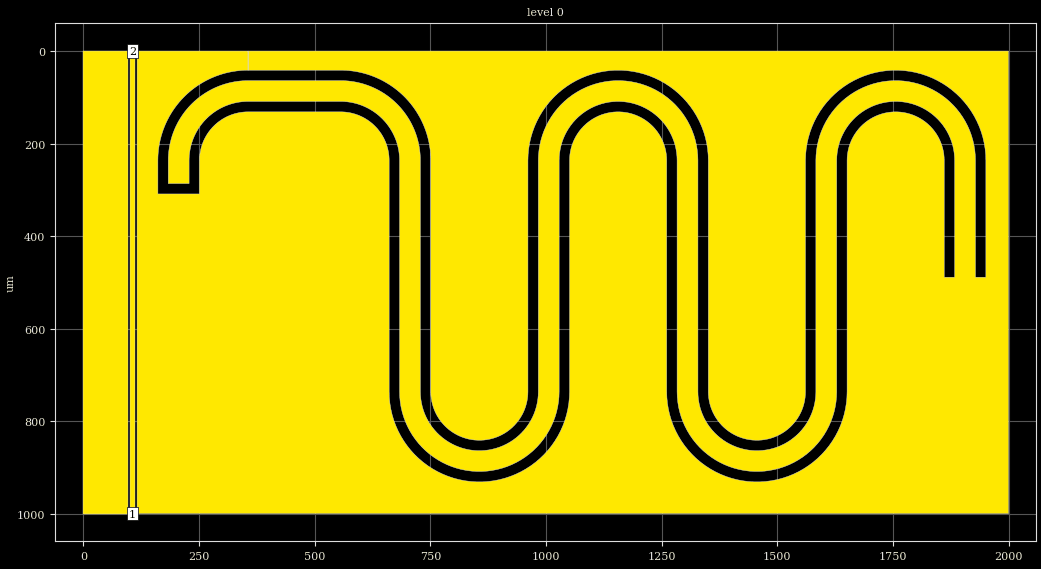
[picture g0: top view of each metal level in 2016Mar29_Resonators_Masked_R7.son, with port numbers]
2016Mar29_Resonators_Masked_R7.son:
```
FTYP SONPROJ 15 ! Sonnet Project File
VER 16.52
HEADER
LIC calt2.2.43068 b4ae2bd1247e DESKTOP-SL82IK9 Michael
DAT 04/05/2016 01:55:19
BUILT_BY_CREATED xgeom 16.52 03/26/2016 21:21:12
BUILT_BY_SAVED xgeom 16.52
MDATE 04/05/2016 01:55:19
HDATE 04/05/2016 01:55:19
END HEADER
DIM
FREQ GHZ
IND NH
LNG UM
ANG DEG
CON /OH
CAP PF
RES OH
END DIM
FREQ
ABS 5.9 6.2 
END FREQ
CONTROL
ABS
OPTIONS  -d 
SPEED 0
CACHE_ABS 1
TARG_ABS 300
Q_ACC N
DET_ABS_RES Y
END CONTROL
GEO
TMET "Lossless" 0 SUP 0 0 0 0
BMET "Lossless" 0 SUP 0 0 0 0
BOX 1 2000 1000 800 400 20 0
      1000 1 1 0 0 0 0 "Air"
      500 11.9 1 5e-006 0 0 0 "Silicon (intrinsic)"
LORGN 0 1000 U 
POR1 STD
POLY 123 1
4
1 50 0 0 0 106 1000 
POR1 STD
POLY 123 1
1
2 50 0 0 0 106 0 
NUM 3
0 6 -1 N 117 1 1 100 100 0 0 0 Y
96 109
96 0
-1 0
-1 1000
96 1000
96 109
END
0 1220 -1 N 121 1 1 100 100 0 0 0 Y
1999.999926 4.577209798e-006
356 4.577209798e-006
356 41.5
556 41.5
562.25 41.6
568.49 41.9
574.72 42.4
580.94 43.1
587.12 44
593.28 45.1
599.39 46.39
605.46 47.88
611.48 49.56
617.45 51.43
623.35 53.5
629.18 55.75
634.93 58.19
640.61 60.81
646.19 63.61
651.69 66.59
657.09 69.75
662.38 73.07
667.56 76.57
672.63 80.22
677.58 84.04
682.4 88.02
687.1 92.15
691.66 96.42
696.08 100.84
700.35 105.4
704.48 110.1
708.46 114.92
712.28 119.87
715.93 124.94
719.43 130.12
722.75 135.41
725.91 140.81
728.89 146.31
731.69 151.89
734.31 157.57
736.75 163.32
739 169.15
741.07 175.05
742.94 181.02
744.62 187.04
746.11 193.11
747.4 199.22
748.5 205.38
749.4 211.56
750.1 217.78
750.6 224.01
750.9 230.25
751 236.5
751 736.5
751.22 743.23
751.86 749.93
752.94 756.57
754.43 763.13
756.35 769.59
758.67 775.9
761.4 782.06
764.51 788.03
768 793.78
771.85 799.3
776.05 804.56
780.57 809.55
785.41 814.23
790.53 818.59
795.93 822.62
801.57 826.29
807.43 829.59
813.5 832.51
819.74 835.04
826.13 837.16
832.64 838.87
839.24 840.15
845.92 841.01
852.64 841.45
859.36 841.45
866.08 841.01
872.76 840.15
879.36 838.87
885.88 837.16
892.26 835.04
898.5 832.51
904.57 829.59
910.43 826.29
916.07 822.62
921.47 818.59
926.59 814.23
931.43 809.55
935.95 804.56
940.15 799.3
944 793.78
947.49 788.03
950.6 782.06
953.33 775.9
955.65 769.59
957.57 763.13
959.06 756.57
960.14 749.93
960.78 743.23
961 736.5
961 236.5
961.4 224.01
962.6 211.56
964.6 199.22
967.38 187.04
970.93 175.05
975.25 163.32
980.31 151.89
986.09 140.81
992.57 130.12
999.72 119.87
1007.52 110.1
1015.92 100.84
1024.9 92.15
1034.42 84.04
1044.44 76.57
1054.91 69.75
1065.81 63.61
1077.07 58.19
1088.65 53.5
1100.52 49.56
1112.61 46.39
1124.88 44
1137.28 42.4
1149.75 41.6
1162.25 41.6
1174.72 42.4
1187.12 44
1199.39 46.39
1211.48 49.56
1223.35 53.5
1234.93 58.19
1246.19 63.61
1257.09 69.75
1267.56 76.57
1277.58 84.04
1287.1 92.15
1296.08 100.84
1304.48 110.1
1312.28 119.87
1319.43 130.12
1325.91 140.81
1331.69 151.89
1336.75 163.32
1341.07 175.05
1344.62 187.04
1347.4 199.22
1349.4 211.56
1350.6 224.01
1351 236.5
1351 736.5
1351.22 743.23
1351.86 749.93
1352.94 756.57
1354.43 763.13
1356.35 769.59
1358.67 775.9
1361.4 782.06
1364.51 788.03
1368 793.78
1371.85 799.3
1376.05 804.56
1380.57 809.55
1385.41 814.23
1390.53 818.59
1395.93 822.62
1401.57 826.29
1407.43 829.59
1413.5 832.51
1419.74 835.04
1426.13 837.16
1432.64 838.87
1439.24 840.15
1445.92 841.01
1452.64 841.45
1459.36 841.45
1466.08 841.01
1472.76 840.15
1479.36 838.87
1485.88 837.16
1492.26 835.04
1498.5 832.51
1504.57 829.59
1510.43 826.29
1516.07 822.62
1521.47 818.59
1526.59 814.23
1531.43 809.55
1535.95 804.56
1540.15 799.3
1544 793.78
1547.49 788.03
1550.6 782.06
1553.33 775.9
1555.65 769.59
1557.57 763.13
1559.06 756.57
1560.14 749.93
1560.78 743.23
1561 736.5
1561 236.5
1561.4 224.01
1562.6 211.56
1564.6 199.22
1567.38 187.04
1570.93 175.05
1575.25 163.32
1580.31 151.89
1586.09 140.81
1592.57 130.12
1599.72 119.87
1607.52 110.1
1615.92 100.84
1624.9 92.15
1634.42 84.04
1644.44 76.57
1654.91 69.75
1665.81 63.61
1677.07 58.19
1688.65 53.5
1700.52 49.56
1712.61 46.39
1724.88 44
1737.28 42.4
1749.75 41.6
1762.25 41.6
1774.72 42.4
1787.12 44
1799.39 46.39
1811.48 49.56
1823.35 53.5
1834.93 58.19
1846.2 63.61
1857.09 69.75
1867.56 76.57
1877.58 84.04
1887.1 92.15
1896.08 100.84
1904.48 110.1
1912.28 119.87
1919.43 130.12
1925.91 140.81
1931.69 151.89
1936.75 163.32
1941.07 175.05
1944.62 187.04
1947.4 199.22
1949.4 211.56
1950.6 224.01
1951 236.5
1951 489
1928.5 489
1928.5 236.5
1928.15 225.45
1927.08 214.44
1925.32 203.52
1922.86 192.74
1919.71 182.14
1915.89 171.77
1911.42 161.65
1906.3 151.85
1900.57 142.39
1894.24 133.33
1887.35 124.68
1879.92 116.49
1871.97 108.8
1863.55 101.63
1854.69 95.02
1845.42 88.99
1835.79 83.56
1825.82 78.76
1815.57 74.61
1805.08 71.13
1794.39 68.32
1783.53 66.21
1772.56 64.8
1761.53 64.09
1750.47 64.09
1739.44 64.8
1728.47 66.21
1717.61 68.32
1706.92 71.13
1696.43 74.61
1686.18 78.76
1676.21 83.56
1666.58 88.99
1657.31 95.02
1648.45 101.63
1640.03 108.8
1632.09 116.49
1624.65 124.68
1617.76 133.33
1611.43 142.39
1605.7 151.85
1600.58 161.65
1596.11 171.77
1592.29 182.14
1589.14 192.74
1586.68 203.52
1584.92 214.44
1583.85 225.45
1583.5 236.5
1583.5 736.5
1583.24 744.67
1582.45 752.8
1581.15 760.87
1579.33 768.84
1577.01 776.68
1574.18 784.35
1570.87 791.82
1567.09 799.07
1562.86 806.06
1558.18 812.76
1553.08 819.15
1547.59 825.2
1541.72 830.88
1535.49 836.18
1528.94 841.07
1522.1 845.53
1514.97 849.54
1507.61 853.09
1500.03 856.15
1492.28 858.73
1484.37 860.8
1476.35 862.37
1468.24 863.41
1460.09 863.93
1451.91 863.93
1443.76 863.41
1435.65 862.37
1427.63 860.8
1419.72 858.73
1411.97 856.15
1404.39 853.09
1397.03 849.54
1389.9 845.53
1383.06 841.07
1376.51 836.18
1370.28 830.88
1364.41 825.2
1358.92 819.15
1353.82 812.76
1349.14 806.06
1344.91 799.07
1341.13 791.82
1337.82 784.35
1334.99 776.68
1332.67 768.84
1330.85 760.87
1329.55 752.8
1328.76 744.67
1328.5 736.5
1328.5 236.5
1328.15 225.45
1327.08 214.44
1325.32 203.52
1322.86 192.74
1319.71 182.14
1315.89 171.77
1311.42 161.65
1306.3 151.85
1300.57 142.39
1294.24 133.33
1287.35 124.68
1279.92 116.49
1271.97 108.8
1263.55 101.63
1254.69 95.02
1245.42 88.99
1235.79 83.56
1225.82 78.76
1215.57 74.61
1205.08 71.13
1194.39 68.32
1183.53 66.21
1172.56 64.8
1161.53 64.09
1150.47 64.09
1139.44 64.8
1128.47 66.21
1117.61 68.32
1106.92 71.13
1096.43 74.61
1086.18 78.76
1076.21 83.56
1066.58 88.99
1057.31 95.02
1048.45 101.63
1040.03 108.8
1032.09 116.49
1024.65 124.68
1017.76 133.33
1011.43 142.39
1005.7 151.85
1000.58 161.65
996.11 171.77
992.29 182.14
989.14 192.74
986.68 203.52
984.92 214.44
983.85 225.45
983.5 236.5
983.5 736.5
983.24 744.67
982.45 752.8
981.15 760.87
979.33 768.84
977.01 776.68
974.18 784.35
970.87 791.82
967.09 799.07
962.86 806.06
958.18 812.76
953.08 819.15
947.59 825.2
941.72 830.88
935.49 836.18
928.94 841.07
922.1 845.53
914.97 849.54
907.61 853.09
900.03 856.15
892.28 858.73
884.37 860.8
876.35 862.37
868.24 863.41
860.09 863.93
851.91 863.93
843.76 863.41
835.65 862.37
827.63 860.8
819.72 858.73
811.97 856.15
804.39 853.09
797.03 849.54
789.9 845.53
783.06 841.07
776.51 836.18
770.28 830.88
764.41 825.2
758.92 819.15
753.82 812.76
749.14 806.06
744.91 799.07
741.13 791.82
737.82 784.35
734.99 776.68
732.67 768.84
730.85 760.87
729.55 752.8
728.76 744.67
728.5 736.5
728.5 236.5
728.41 230.97
728.15 225.45
727.7 219.94
727.08 214.44
726.29 208.97
725.32 203.52
724.18 198.11
722.86 192.74
721.37 187.42
719.71 182.14
717.89 176.93
715.89 171.77
713.74 166.68
711.42 161.65
708.94 156.71
706.3 151.85
703.51 147.08
700.57 142.39
697.48 137.81
694.24 133.33
690.87 128.95
687.35 124.68
683.7 120.53
679.92 116.49
676.01 112.58
671.97 108.8
667.82 105.15
663.55 101.63
659.17 98.26
654.69 95.02
650.11 91.93
645.42 88.99
640.65 86.2
635.79 83.56
630.85 81.08
625.82 78.76
620.73 76.61
615.57 74.61
610.36 72.79
605.08 71.13
599.76 69.64
594.39 68.32
588.98 67.18
583.53 66.21
578.06 65.42
572.56 64.8
567.05 64.35
561.53 64.09
556 64
356 64
350.47 64.09
344.95 64.35
339.44 64.8
333.94 65.42
328.47 66.21
323.03 67.18
317.61 68.32
312.24 69.64
306.92 71.13
301.64 72.79
296.43 74.61
291.27 76.61
286.18 78.76
281.15 81.08
276.21 83.56
271.35 86.2
266.58 88.99
261.9 91.93
257.31 95.02
252.83 98.26
248.45 101.63
244.18 105.15
240.03 108.8
235.99 112.58
232.09 116.49
228.3 120.53
224.65 124.68
221.13 128.95
217.76 133.33
214.52 137.81
211.43 142.39
208.49 147.08
205.7 151.85
203.06 156.71
200.58 161.65
198.26 166.68
196.11 171.77
194.11 176.93
192.29 182.14
190.63 187.42
189.14 192.74
187.82 198.11
186.68 203.52
185.71 208.97
184.92 214.44
184.3 219.94
183.85 225.45
183.59 230.97
183.5 236.5
183.5 286.5
228.5 286.5
228.5 236.5
228.57 232.41
228.76 228.33
229.09 224.26
229.55 220.2
230.13 216.15
230.85 212.13
231.7 208.13
232.67 204.16
233.77 200.22
234.99 196.32
236.35 192.47
237.82 188.65
239.41 184.89
241.13 181.18
242.96 177.53
244.91 173.93
246.97 170.4
249.14 166.94
251.43 163.56
253.82 160.24
256.32 157.01
258.92 153.85
261.61 150.78
264.41 147.8
267.3 144.91
270.28 142.11
273.35 139.42
276.51 136.82
279.74 134.32
283.06 131.93
286.44 129.64
289.9 127.47
293.43 125.41
297.03 123.46
300.68 121.63
304.39 119.91
308.15 118.32
311.97 116.85
315.82 115.49
319.72 114.27
323.66 113.17
327.63 112.2
331.63 111.35
335.65 110.63
339.7 110.05
343.76 109.59
347.83 109.26
351.91 109.07
356 109
556 109
560.09 109.07
564.17 109.26
568.24 109.59
572.3 110.05
576.35 110.63
580.37 111.35
584.37 112.2
588.34 113.17
592.28 114.27
596.18 115.49
600.03 116.85
603.85 118.32
607.61 119.91
611.32 121.63
614.97 123.46
618.57 125.41
622.1 127.47
625.56 129.64
628.94 131.93
632.26 134.32
635.49 136.82
638.65 139.42
641.72 142.11
644.7 144.91
647.59 147.8
650.39 150.78
653.08 153.85
655.68 157.01
658.18 160.24
660.57 163.56
662.86 166.94
665.03 170.4
667.09 173.93
669.04 177.53
670.87 181.18
672.59 184.89
674.18 188.65
675.65 192.47
677.01 196.32
678.23 200.22
679.33 204.16
680.3 208.13
681.15 212.13
681.87 216.15
682.45 220.2
682.91 224.26
683.24 228.33
683.43 232.41
683.5 236.5
683.5 736.5
683.85 747.55
684.92 758.56
686.68 769.47
689.14 780.26
692.29 790.86
696.11 801.23
700.58 811.34
705.7 821.15
711.43 830.6
717.76 839.67
724.65 848.32
732.09 856.51
740.03 864.2
748.45 871.37
757.31 877.98
766.58 884.01
776.21 889.44
786.18 894.24
796.43 898.39
806.92 901.87
817.61 904.67
828.47 906.79
839.44 908.2
850.47 908.91
861.53 908.91
872.56 908.2
883.53 906.79
894.39 904.67
905.08 901.87
915.57 898.39
925.82 894.24
935.79 889.44
945.42 884.01
954.69 877.98
963.55 871.37
971.97 864.2
979.92 856.51
987.35 848.32
994.24 839.67
1000.57 830.6
1006.3 821.15
1011.42 811.34
1015.89 801.23
1019.71 790.86
1022.86 780.26
1025.32 769.47
1027.08 758.56
1028.15 747.55
1028.5 736.5
1028.5 236.5
1028.76 228.33
1029.55 220.2
1030.85 212.13
1032.67 204.16
1034.99 196.32
1037.82 188.65
1041.13 181.18
1044.91 173.93
1049.14 166.94
1053.82 160.24
1058.92 153.85
1064.41 147.8
1070.28 142.11
1076.51 136.82
1083.06 131.93
1089.9 127.47
1097.03 123.46
1104.39 119.91
1111.97 116.85
1119.72 114.27
1127.63 112.2
1135.65 110.63
1143.76 109.59
1151.91 109.07
1160.09 109.07
1168.24 109.59
1176.35 110.63
1184.37 112.2
1192.28 114.27
1200.03 116.85
1207.61 119.91
1214.97 123.46
1222.1 127.47
1228.94 131.93
1235.49 136.82
1241.72 142.11
1247.59 147.8
1253.08 153.85
1258.18 160.24
1262.86 166.94
1267.09 173.93
1270.87 181.18
1274.18 188.65
1277.01 196.32
1279.33 204.16
1281.15 212.13
1282.45 220.2
1283.24 228.33
1283.5 236.5
1283.5 736.5
1283.85 747.55
1284.92 758.56
1286.68 769.47
1289.14 780.26
1292.29 790.86
1296.11 801.23
1300.58 811.34
1305.7 821.15
1311.43 830.6
1317.76 839.67
1324.65 848.32
1332.09 856.51
1340.03 864.2
1348.45 871.37
1357.31 877.98
1366.58 884.01
1376.21 889.44
1386.18 894.24
1396.43 898.39
1406.92 901.87
1417.61 904.67
1428.47 906.79
1439.44 908.2
1450.47 908.91
1461.53 908.91
1472.56 908.2
1483.53 906.79
1494.39 904.67
1505.08 901.87
1515.57 898.39
1525.82 894.24
1535.79 889.44
1545.42 884.01
1554.69 877.98
1563.55 871.37
1571.97 864.2
1579.92 856.51
1587.35 848.32
1594.24 839.67
1600.57 830.6
1606.3 821.15
1611.42 811.34
1615.89 801.23
1619.71 790.86
1622.86 780.26
1625.32 769.47
1627.08 758.56
1628.15 747.55
1628.5 736.5
1628.5 236.5
1628.76 228.33
1629.55 220.2
1630.85 212.13
1632.67 204.16
1634.99 196.32
1637.82 188.65
1641.13 181.18
1644.91 173.93
1649.14 166.94
1653.82 160.24
1658.92 153.85
1664.41 147.8
1670.28 142.11
1676.51 136.82
1683.06 131.93
1689.9 127.47
1697.03 123.46
1704.39 119.91
1711.97 116.85
1719.72 114.27
1727.63 112.2
1735.65 110.63
1743.76 109.59
1751.91 109.07
1760.09 109.07
1768.24 109.59
1776.35 110.63
1784.37 112.2
1792.28 114.27
1800.03 116.85
1807.61 119.91
1814.97 123.46
1822.1 127.47
1828.95 131.93
1835.49 136.82
1841.72 142.11
1847.59 147.8
1853.08 153.85
1858.18 160.24
1862.86 166.94
1867.09 173.93
1870.87 181.18
1874.18 188.65
1877.01 196.32
1879.33 204.16
1881.15 212.13
1882.45 220.2
1883.24 228.33
1883.5 236.5
1883.5 489
1861 489
1861 236.5
1860.78 229.77
1860.14 223.07
1859.06 216.43
1857.57 209.87
1855.65 203.41
1853.33 197.1
1850.6 190.94
1847.49 184.98
1844 179.22
1840.15 173.7
1835.95 168.44
1831.43 163.45
1826.59 158.77
1821.47 154.41
1816.07 150.38
1810.43 146.71
1804.57 143.41
1798.5 140.49
1792.26 137.96
1785.88 135.84
1779.36 134.13
1772.76 132.85
1766.08 131.98
1759.36 131.55
1752.64 131.55
1745.92 131.98
1739.24 132.85
1732.64 134.13
1726.13 135.84
1719.74 137.96
1713.5 140.49
1707.43 143.41
1701.57 146.71
1695.93 150.38
1690.53 154.41
1685.41 158.77
1680.57 163.45
1676.05 168.44
1671.85 173.7
1668 179.22
1664.51 184.98
1661.4 190.94
1658.67 197.1
1656.35 203.41
1654.43 209.87
1652.94 216.43
1651.86 223.07
1651.22 229.77
1651 236.5
1651 736.5
1650.6 748.99
1649.4 761.44
1647.4 773.78
1644.62 785.96
1641.07 797.95
1636.75 809.68
1631.69 821.11
1625.91 832.19
1619.43 842.88
1612.28 853.13
1604.48 862.9
1596.08 872.16
1587.1 880.85
1577.58 888.96
1567.56 896.43
1557.09 903.25
1546.19 909.39
1534.93 914.81
1523.35 919.5
1511.48 923.44
1499.39 926.61
1487.12 929
1474.72 930.6
1462.25 931.4
1449.75 931.4
1437.28 930.6
1424.88 929
1412.61 926.61
1400.52 923.44
1388.65 919.5
1377.07 914.81
1365.81 909.39
1354.91 903.25
1344.44 896.43
1334.42 888.96
1324.9 880.85
1315.92 872.16
1307.52 862.9
1299.72 853.13
1292.57 842.88
1286.09 832.19
1280.31 821.11
1275.25 809.68
1270.93 797.95
1267.38 785.96
1264.6 773.78
1262.6 761.44
1261.4 748.99
1261 736.5
1261 236.5
1260.78 229.77
1260.14 223.07
1259.06 216.43
1257.57 209.87
1255.65 203.41
1253.33 197.1
1250.6 190.94
1247.49 184.98
1244 179.22
1240.15 173.7
1235.95 168.44
1231.43 163.45
1226.59 158.77
1221.47 154.41
1216.07 150.38
1210.43 146.71
1204.57 143.41
1198.5 140.49
1192.26 137.96
1185.88 135.84
1179.36 134.13
1172.76 132.85
1166.08 131.98
1159.36 131.55
1152.64 131.55
1145.92 131.98
1139.24 132.85
1132.64 134.13
1126.13 135.84
1119.74 137.96
1113.5 140.49
1107.43 143.41
1101.57 146.71
1095.93 150.38
1090.53 154.41
1085.41 158.77
1080.57 163.45
1076.05 168.44
1071.85 173.7
1068 179.22
1064.51 184.98
1061.4 190.94
1058.67 197.1
1056.35 203.41
1054.43 209.87
1052.94 216.43
1051.86 223.07
1051.22 229.77
1051 236.5
1051 736.5
1050.6 748.99
1049.4 761.44
1047.4 773.78
1044.62 785.96
1041.07 797.95
1036.75 809.68
1031.69 821.11
1025.91 832.19
1019.43 842.88
1012.28 853.13
1004.48 862.9
996.08 872.16
987.1 880.85
977.58 888.96
967.56 896.43
957.09 903.25
946.19 909.39
934.93 914.81
923.35 919.5
911.48 923.44
899.39 926.61
887.12 929
874.72 930.6
862.25 931.4
849.75 931.4
837.28 930.6
824.88 929
812.61 926.61
800.52 923.44
788.65 919.5
777.07 914.81
765.81 909.39
754.91 903.25
744.44 896.43
734.42 888.96
724.9 880.85
715.92 872.16
707.52 862.9
699.72 853.13
692.57 842.88
686.09 832.19
680.31 821.11
675.25 809.68
670.93 797.95
667.38 785.96
664.6 773.78
662.6 761.44
661.4 748.99
661 736.5
661 236.5
660.95 233.14
660.78 229.77
660.52 226.42
660.14 223.07
659.65 219.74
659.06 216.43
658.37 213.14
657.57 209.87
656.66 206.62
655.65 203.41
654.54 200.24
653.33 197.1
652.01 194
650.6 190.94
649.09 187.93
647.49 184.98
645.79 182.07
644 179.22
642.12 176.43
640.15 173.7
638.09 171.03
635.95 168.44
633.73 165.91
631.43 163.45
629.05 161.07
626.59 158.77
624.06 156.55
621.47 154.41
618.8 152.35
616.07 150.38
613.28 148.5
610.43 146.71
607.53 145.01
604.57 143.41
601.56 141.9
598.5 140.49
595.4 139.17
592.26 137.96
589.09 136.85
585.88 135.84
582.63 134.93
579.36 134.13
576.07 133.44
572.76 132.85
569.43 132.36
566.08 131.98
562.73 131.72
559.36 131.55
556 131.5
356 131.5
352.64 131.55
349.27 131.72
346 131.98
345.92 131.98
342.57 132.36
339.24 132.85
335.93 133.44
332.64 134.13
329.37 134.93
326.13 135.84
322.91 136.85
319.74 137.96
316.6 139.17
313.5 140.49
310.44 141.9
307.43 143.41
304.48 145.01
301.57 146.71
298.72 148.5
295.93 150.38
293.2 152.35
290.53 154.41
287.94 156.55
285.41 158.77
282.95 161.07
280.57 163.45
278.27 165.91
276.05 168.44
273.91 171.03
271.85 173.7
269.88 176.43
268 179.22
266.21 182.07
264.51 184.98
262.91 187.93
261.4 190.94
259.99 194
258.67 197.1
257.46 200.24
256.35 203.41
255.34 206.62
254.43 209.87
253.63 213.14
252.94 216.43
252.35 219.74
251.86 223.07
251.49 226.42
251.22 229.77
251.05 233.14
251 236.5
251 309
161 309
161 236.5
161.1 230.25
161.4 224.01
161.9 217.78
162.6 211.56
163.5 205.38
164.6 199.22
165.89 193.11
167.38 187.04
169.06 181.02
170.93 175.05
173 169.15
175.25 163.32
177.69 157.57
180.31 151.89
183.11 146.31
186.09 140.81
189.25 135.41
192.57 130.12
196.07 124.94
199.72 119.87
203.54 114.92
207.52 110.1
211.65 105.4
215.92 100.84
220.34 96.42
224.9 92.15
229.6 88.02
234.42 84.04
239.37 80.22
244.44 76.57
249.62 73.07
254.91 69.75
260.31 66.59
265.81 63.61
271.39 60.81
277.07 58.19
282.82 55.75
288.65 53.5
294.55 51.43
300.52 49.56
306.54 47.88
312.61 46.39
318.72 45.1
324.88 44
331.06 43.1
337.28 42.4
343.51 41.9
349.75 41.6
356 41.5
356 4.577209798e-006
116.06 4.577209798e-006
116.06 105.155
116 109
116 309
116 999.9999881
1999.999926 999.9999881
1999.999926 4.577209798e-006
END
0 7 -1 N 123 1 1 100 100 0 0 0 Y
111 109
111 0
101 0
101 109
101 1000
111 1000
111 109
END
END GEO
OPT
MAX 100
VARS
END
END OPT
VARSWP
END VARSWP
QSG
IMPORT YES
EXTRA_METAL NO
UNITS NO
ALIGN NO
REF NO
VIEW_RES NO
METALS NO
USED NO
END QSG
```
